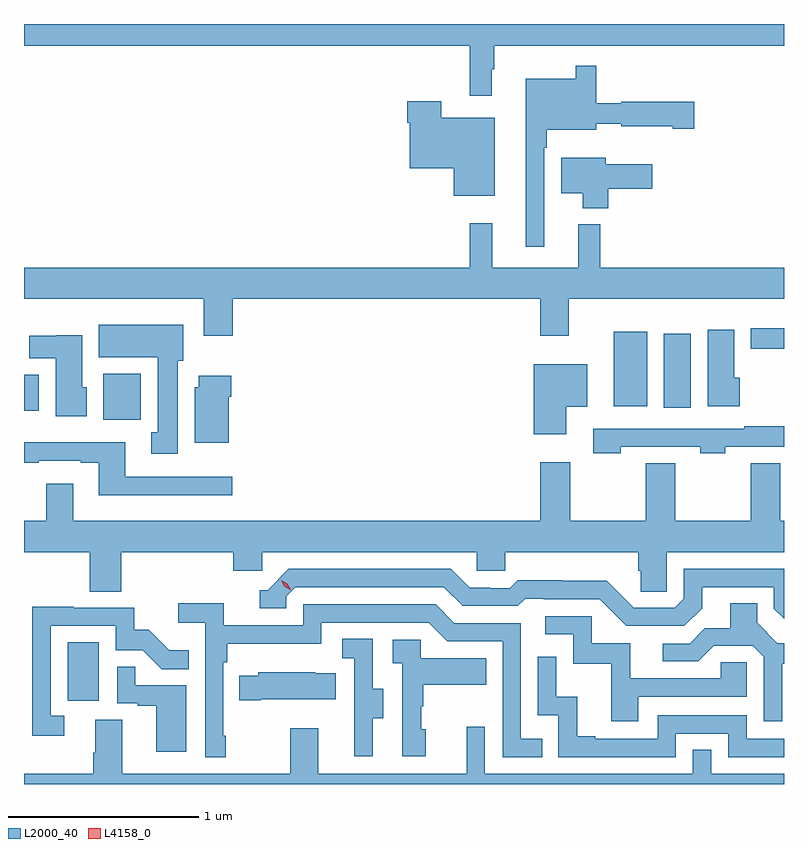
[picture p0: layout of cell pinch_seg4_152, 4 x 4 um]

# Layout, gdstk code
import gdstk
lib = gdstk.Library(unit=1e-6, precision=1e-09)
def R(c, l, rs):  # rectangles x0, y0, x1, y1
    for r in rs: c.add(gdstk.rectangle(r[:2], r[2:], *l))
def P(c, l, *ps):  # polygons
    for p in ps: c.add(gdstk.Polygon(p, *l))
L2000_40 = (2000, 40)
L4158_0 = (4158, 0)

pinch_seg4_152 = lib.new_cell('pinch_seg4_152')
R(pinch_seg4_152, L2000_40, [(1129.466,801.366,1129.63,801.673), (1129.655,802.844,1129.852,803.086), (1129.237,802.892,1129.315,803.08), (1132.604,802.908,1132.747,803.296), (1132.34,802.916,1132.516,803.308), (1133.061,803.217,1133.237,803.326)])
P(pinch_seg4_152, L2000_40, [(1131.7,804.689),(1131.712,804.689),(1131.712,804.812),(1133.237,804.812),(1133.237,804.927),(1129.237,804.927),(1129.237,804.812),(1131.583,804.812),(1131.583,804.549),(1131.7,804.549)],
  [(1131.975,804.275),(1131.988,804.275),(1131.988,804.371),(1132.249,804.371),(1132.249,804.401),(1132.38,804.401),(1132.38,804.389),(1132.652,804.389),(1132.652,804.377),(1132.765,804.377),(1132.765,804.519),(1132.38,804.519),(1132.38,804.511),(1132.249,804.511),(1132.249,804.706),(1132.14,804.706),(1132.14,804.64),(1131.878,804.64),(1131.878,803.754),(1131.975,803.754)],
  [(1131.715,804.433),(1131.432,804.433),(1131.432,804.52),(1131.254,804.52),(1131.254,804.407),(1131.266,804.407),(1131.266,804.167),(1131.5,804.167),(1131.5,804.023),(1131.715,804.023)],
  [(1132.313,804.061),(1132.543,804.061),(1132.543,804.19),(1132.3,804.19),(1132.3,804.223),(1132.064,804.223),(1132.064,804.035),(1132.178,804.035),(1132.178,803.957),(1132.313,803.957)],
  [(1130.336,803.48),(1131.953,803.48),(1131.953,803.286),(1132.105,803.286),(1132.105,803.48),(1133.237,803.48),(1133.237,803.644),(1132.271,803.644),(1132.271,803.872),(1132.154,803.872),(1132.154,803.644),(1131.701,803.644),(1131.701,803.878),(1131.583,803.878),(1131.583,803.644),(1129.237,803.644),(1129.237,803.48),(1130.183,803.48),(1130.183,803.286),(1130.336,803.286)],
  [(1130.047,803.154),(1130.074,803.154),(1130.074,803.344),(1129.631,803.344),(1129.631,803.174),(1129.94,803.174),(1129.94,802.778),(1129.907,802.778),(1129.907,802.665),(1130.047,802.665)],
  [(1133.005,803.064),(1132.975,803.064),(1132.975,803.317),(1132.835,803.317),(1132.835,802.916),(1133.005,802.916)],
  [(1129.567,803.016),(1129.543,803.016),(1129.543,803.29),(1129.407,803.29),(1129.407,803.286),(1129.264,803.286),(1129.264,803.168),(1129.403,803.168),(1129.403,802.862),(1129.567,802.862)],
  [(1132.09,802.913),(1132.201,802.913),(1132.201,803.137),(1131.92,803.137),(1131.92,802.767),(1132.09,802.767)],
  [(1130.314,802.964),(1130.327,802.964),(1130.327,803.077),(1130.156,803.077),(1130.156,803.016),(1130.135,803.016),(1130.135,802.724),(1130.314,802.724)],
  [(1132.377,802.701),(1132.797,802.701),(1132.797,802.669),(1132.929,802.669),(1132.929,802.701),(1133.237,802.701),(1133.237,802.81),(1133.029,802.81),(1133.029,802.797),(1132.233,802.797),(1132.233,802.669),(1132.377,802.669)],
  [(1130.332,802.545),(1129.771,802.545),(1129.771,802.726),(1129.237,802.726),(1129.237,802.617),(1129.315,802.617),(1129.315,802.629),(1129.535,802.629),(1129.535,802.617),(1129.631,802.617),(1129.631,802.448),(1130.332,802.448)],
  [(1129.748,802.148),(1130.339,802.148),(1130.339,802.05),(1130.49,802.05),(1130.49,802.148),(1131.621,802.148),(1131.621,802.05),(1131.771,802.05),(1131.771,802.148),(1132.469,802.148),(1132.469,802.05),(1132.483,802.05),(1132.483,801.94),(1132.62,801.94),(1132.62,802.148),(1133.237,802.148),(1133.237,802.312),(1133.217,802.312),(1133.217,802.616),(1133.062,802.616),(1133.062,802.312),(1132.664,802.312),(1132.664,802.616),(1132.51,802.616),(1132.51,802.312),(1132.113,802.312),(1132.113,802.621),(1131.953,802.621),(1131.953,802.312),(1129.495,802.312),(1129.495,802.507),(1129.355,802.507),(1129.355,802.312),(1129.237,802.312),(1129.237,802.148),(1129.583,802.148),(1129.583,801.94),(1129.748,801.94)],
  [(1132.807,801.853),(1132.807,801.963),(1133.184,801.963),(1133.184,801.849),(1133.237,801.796),(1133.237,802.059),(1132.71,802.059),(1132.71,801.903),(1132.662,801.855),(1132.446,801.855),(1132.304,801.997),(1132.068,801.997),(1132.068,802),(1131.835,802),(1131.793,801.957),(1131.69,801.957),(1131.69,801.96),(1131.583,801.96),(1131.484,802.059),(1130.631,802.059),(1130.52,801.948),(1130.477,801.948),(1130.477,801.852),(1130.616,801.852),(1130.616,801.915),(1130.664,801.963),(1131.447,801.963),(1131.546,801.864),(1131.835,801.864),(1131.874,801.903),(1131.973,801.903),(1131.973,801.9),(1132.266,801.9),(1132.407,801.759),(1132.713,801.759)],
  [(1133.227,801.561),(1133.237,801.561),(1133.237,801.669),(1133.202,801.669),(1133.095,801.776),(1133.095,801.878),(1132.955,801.878),(1132.955,801.746),(1132.82,801.746),(1132.74,801.666),(1132.599,801.666),(1132.599,801.573),(1132.786,801.573),(1132.867,801.654),(1133.073,801.654),(1133.13,801.597),(1133.13,801.258),(1133.227,801.258)],
  [(1130.299,801.181),(1130.286,801.181),(1130.286,801.569),(1130.306,801.569),(1130.306,801.665),(1130.802,801.665),(1130.802,801.777),(1131.366,801.777),(1131.465,801.678),(1131.756,801.678),(1131.756,801.069),(1131.965,801.069),(1131.965,801.165),(1131.852,801.165),(1131.852,801.774),(1131.502,801.774),(1131.403,801.873),(1130.706,801.873),(1130.706,801.762),(1130.288,801.762),(1130.288,801.878),(1130.049,801.878),(1130.049,801.776),(1130.19,801.776),(1130.19,801.069),(1130.299,801.069)],
  [(1129.45,801.285),(1129.377,801.285),(1129.377,801.759),(1129.719,801.759),(1129.719,801.63),(1129.863,801.63),(1129.961,801.532),(1130.105,801.532),(1130.105,801.631),(1130.001,801.631),(1129.894,801.738),(1129.818,801.738),(1129.818,801.855),(1129.499,801.855),(1129.499,801.86),(1129.281,801.86),(1129.281,801.18),(1129.45,801.18)],
  [(1132.471,801.387),(1133.04,801.387),(1133.04,801.567),(1132.903,801.567),(1132.903,801.483),(1132.429,801.483),(1132.429,801.669),(1132.224,801.669),(1132.224,801.81),(1131.981,801.81),(1131.981,801.714),(1132.128,801.714),(1132.128,801.561),(1132.327,801.561),(1132.327,801.258),(1132.471,801.258)],
  [(1131.073,801.274),(1131.127,801.274),(1131.127,801.429),(1131.072,801.429),(1131.072,801.692),(1130.913,801.692),(1130.913,801.589),(1130.976,801.589),(1130.976,801.285),(1130.975,801.285),(1130.975,801.072),(1131.073,801.072)],
  [(1131.352,801.216),(1131.327,801.216),(1131.327,801.335),(1131.337,801.335),(1131.337,801.449),(1131.671,801.449),(1131.671,801.589),(1131.324,801.589),(1131.324,801.687),(1131.177,801.687),(1131.177,801.563),(1131.228,801.563),(1131.228,801.072),(1131.352,801.072)],
  [(1132.668,801.192),(1132.944,801.192),(1132.944,801.069),(1133.237,801.069),(1133.237,801.165),(1133.04,801.165),(1133.04,801.288),(1132.572,801.288),(1132.572,801.165),(1132.243,801.165),(1132.243,801.178),(1132.148,801.178),(1132.148,801.386),(1132.038,801.386),(1132.038,801.598),(1131.942,801.598),(1131.942,801.288),(1132.05,801.288),(1132.05,801.069),(1132.668,801.069)],
  [(1130.092,801.447),(1129.823,801.447),(1129.823,801.545),(1129.728,801.545),(1129.728,801.351),(1129.835,801.351),(1129.835,801.339),(1129.934,801.339),(1129.934,801.096),(1130.092,801.096)],
  [(1130.482,801.374),(1130.879,801.374),(1130.879,801.511),(1130.771,801.511),(1130.771,801.514),(1130.469,801.514),(1130.469,801.496),(1130.371,801.496),(1130.371,801.367),(1130.482,801.367)],
  [(1133.237,800.98),(1132.854,800.98),(1132.854,801.107),(1132.758,801.107),(1132.758,800.98),(1131.663,800.98),(1131.663,801.229),(1131.566,801.229),(1131.566,800.98),(1130.785,800.98),(1130.785,801.22),(1130.638,801.22),(1130.638,800.98),(1129.753,800.98),(1129.753,801.266),(1129.613,801.266),(1129.613,801.092),(1129.601,801.092),(1129.601,800.98),(1129.237,800.98),(1129.237,800.927),(1133.237,800.927)])
P(pinch_seg4_152, L4158_0, [(1130.639,801.949),(1130.608,801.968),(1130.592,802),(1130.592,802),(1130.592,802),(1130.623,801.981),(1130.64,801.949),(1130.64,801.949)])

lib.write_gds('pinch_seg4_152.gds')
